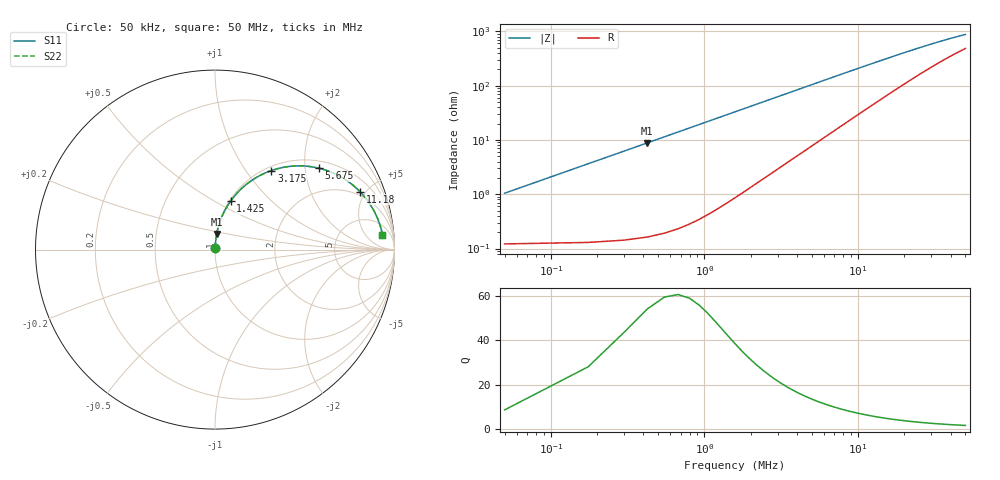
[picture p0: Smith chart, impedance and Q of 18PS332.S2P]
! Coilcraft 1812PS-332 Power Chip Inductor
! 1 October 2002
# MHZ S MA R 50
!Freq  MagS11  AngS11  MagS21  AngS21  MagS12  AngS12  MagS22  AngS22
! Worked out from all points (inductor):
!   401 points, 50 kHz to 50 MHz, reference 50 ohm
!   read as one part in series: L = 3.31 uH near 300 kHz
!   highest Q = 54.2 at 425 kHz (marker M1), where L = 3.31 uH
!   S11 on the Smith chart (normalised r, x): 50 kHz: 1.00, +0.02; 1.425 MHz: 1.01, +0.60; 3.175 MHz: 1.06, +1.33; 5.675 MHz: 1.20, +2.36; 11.18 MHz: 1.72, +4.57; 50 MHz: 11, +15
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0.05  0.01043 82.7  0.9987 -0.6  0.9987 -0.6  0.01043 82.7
0.175  0.03625 85.9  0.9981 -2.1  0.9981 -2.1  0.03625 85.9
0.425  0.08783 83.9  0.9945 -5.0  0.9945 -5.0  0.08783 83.9
0.55  0.1134 82.5  0.9916 -6.5  0.9916 -6.5  0.1134 82.5
0.675  0.1388 81.1  0.988 -8.0  0.988 -8.0  0.1388 81.1
0.8  0.164 79.6  0.9837 -9.4  0.9837 -9.4  0.164 79.6
1.05  0.2132 76.6  0.9729 -12.3  0.9729 -12.3  0.2132 76.6
1.425  0.2835 72.2  0.9522 -16.5  0.9522 -16.5  0.2835 72.2
1.8  0.349 67.9  0.9271 -20.4  0.9271 -20.4  0.349 67.9
2.175  0.4089 63.9  0.8986 -24.1  0.8986 -24.1  0.4089 63.9
3.175  0.5413 54.5  0.8148 -32.7  0.8148 -32.7  0.5413 54.5
4.3  0.6481 46.0  0.7208 -40.3  0.7208 -40.3  0.6481 46.0
5.675  0.7347 38.1  0.6198 -47.1  0.6198 -47.1  0.7347 38.1
6.925  0.7861 32.8  0.5443 -51.5  0.5443 -51.5  0.7861 32.8
8.425  0.8269 27.9  0.4716 -55.2  0.4716 -55.2  0.8269 27.9
11.175  0.8699 21.8  0.3759 -59.2  0.3759 -59.2  0.8699 21.8
13.675  0.8911 18.1  0.3165 -61.1  0.3165 -61.1  0.8911 18.1
16.8  0.9065 14.9  0.2642 -62.0  0.2642 -62.0  0.9065 14.9
25.05  0.9245 10.1  0.1859 -61.1  0.1859 -61.1  0.9245 10.1
33.425  0.9315 7.6  0.1457 -58.2  0.1457 -58.2  0.9315 7.6
41.675  0.9349 6.1  0.1224 -54.8  0.1224 -54.8  0.9349 6.1
50  0.9369 5.1  0.1072 -51.4  0.1072 -51.4  0.9369 5.1
